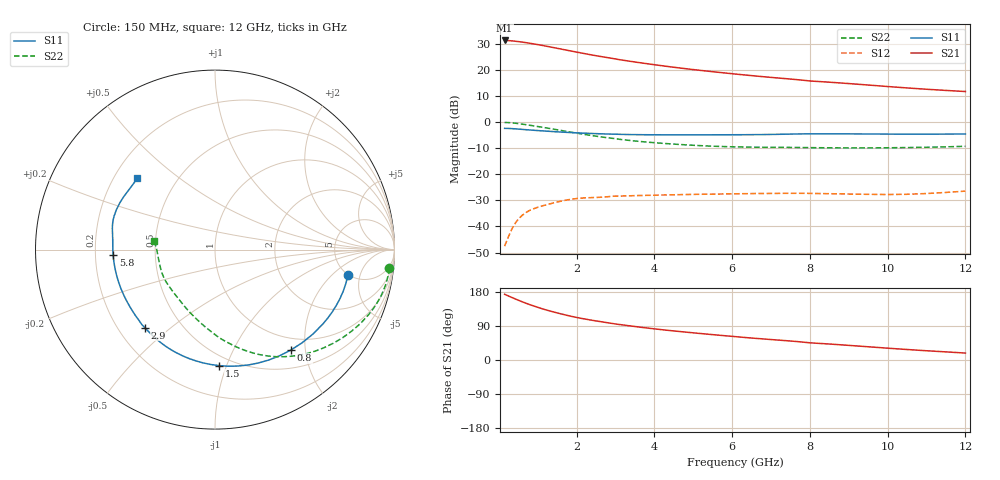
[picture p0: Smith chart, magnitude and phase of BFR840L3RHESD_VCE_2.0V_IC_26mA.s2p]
! Infineon Technologies  Discrete & RF Semiconductors
! BFR840L3RHESD
! VCE =  2.0 V,  IC =  26 mA
! Common Emitter S-Parameters:  Jun 2012
# GHz  S  MA  R  50
!  f  S11  S21  S12  S22
! GHz  MAG  ANG  MAG  ANG  MAG  ANG  MAG  ANG
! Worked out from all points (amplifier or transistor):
!   91 points, 150 MHz to 12 GHz, reference 50 ohm
!   highest |S21| = 31.2 dB at 150 MHz (marker M1)
!   |S21| within 3 dB of that: start of sweep to 1.502 GHz
!   unconditionally stable (mu >= 1): 6.909 GHz to end of sweep
!   at 1.3 GHz: K = 0.21, MSG = 30.1 dB, |S12| = -31.4 dB
!   at 4.3 GHz: K = 0.64, MSG = 24.6 dB, |S12| = -27.9 dB
!   at 12 GHz: K = 1.74, MAG = 14.0 dB, |S12| = -26.5 dB
!   S11 on the Smith chart (normalised r, x): 150 MHz: 4.92, -3.24; 800 MHz: 0.79, -1.73; 1.5 GHz: 0.42, -0.94; 2.9 GHz: 0.31, -0.41; 5.8 GHz: 0.28, -0.03; 12 GHz: 0.30, +0.36
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0.15  0.7537 -10.9  36.22 173.4  0.0042 78.8  0.9768 -6.1
0.3  0.7481 -21.3  35.74 166.6  0.0078 72.2  0.9655 -13.8
0.5  0.7302 -34.5  34.48 157.9  0.0137 67.9  0.9303 -22.8
0.6  0.7203 -40.9  33.71 153.7  0.0163 66.0  0.9087 -27.0
0.8  0.7014 -52.9  32.01 146.0  0.0204 61.8  0.8632 -34.8
0.9  0.6927 -58.5  31.11 142.5  0.0219 59.5  0.8403 -38.4
1.1  0.6764 -69.1  29.27 135.8  0.0245 54.9  0.7953 -45.3
1.3  0.6613 -78.8  27.43 129.8  0.0269 50.5  0.7513 -51.6
1.5  0.6472 -87.8  25.65 124.3  0.0293 46.8  0.7086 -57.4
1.9  0.6237 -103.5  22.44 114.5  0.0335 41.3  0.6292 -67.8
2.2  0.6096 -113.5  20.33 108.4  0.0352 37.9  0.5778 -74.5
2.5  0.5974 -122.0  18.5 103.1  0.0359 35.0  0.5342 -80.5
2.9  0.585 -132.0  16.52 96.7  0.0377 32.8  0.4881 -87.7
3.5  0.572 -144.7  14.03 88.4  0.0389 30.1  0.4324 -97.5
4.2  0.5674 -156.2  11.89 79.9  0.04 27.9  0.3905 -107.6
5  0.5666 -167.5  10.05 71.7  0.0411 26.4  0.3578 -118.6
5.8  0.5683 -176.8  8.667 64.2  0.0419 25.7  0.3379 -128.9
6.1  0.5691 -179.9  8.227 61.5  0.0422 25.4  0.3335 -132.6
8  0.5923 161.6  6.079 45.3  0.0429 25.0  0.3222 -157.1
8.5  0.5926 158.0  5.763 42.2  0.0424 25.0  0.3202 -161.5
10.5  0.5838 144.3  4.472 27.7  0.0413 32.2  0.3234 -178.8
12  0.588 137.6  3.818 18.3  0.0475 38.9  0.3419 172.3
